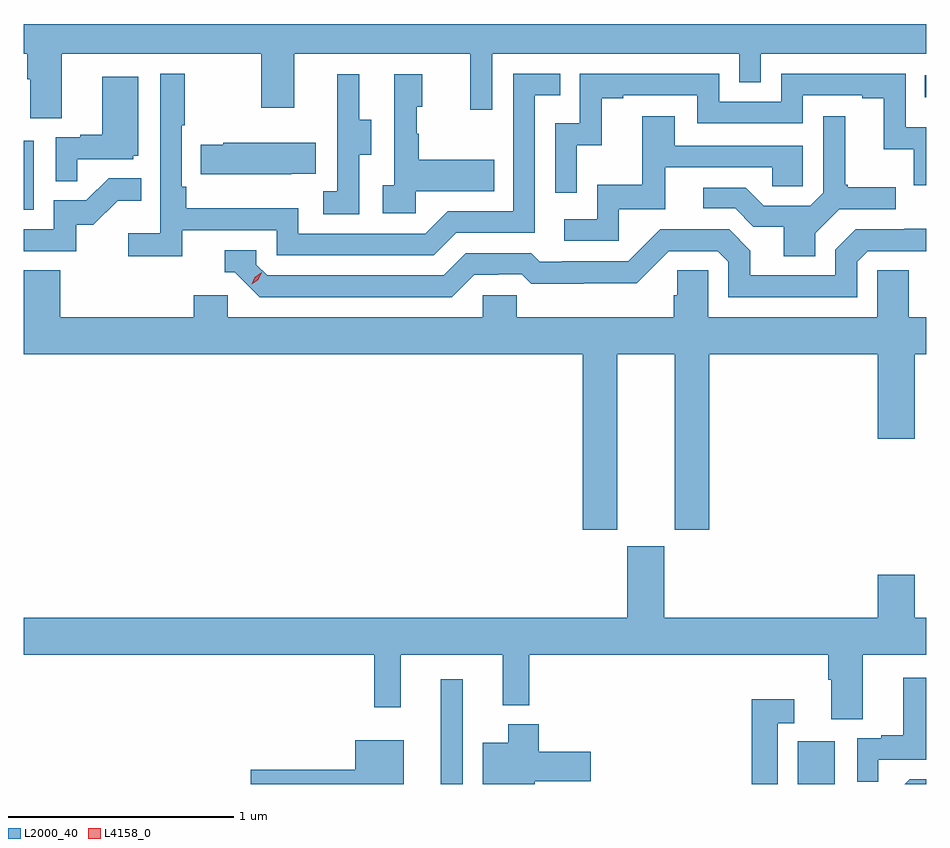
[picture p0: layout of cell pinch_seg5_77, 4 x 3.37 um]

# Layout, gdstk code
import gdstk
lib = gdstk.Library(unit=1e-6, precision=1e-09)
def R(c, l, rs):  # rectangles x0, y0, x1, y1
    for r in rs: c.add(gdstk.rectangle(r[:2], r[2:], *l))
def P(c, l, *ps):  # polygons
    for p in ps: c.add(gdstk.Polygon(p, *l))
L2000_40 = (2000, 40)
L4158_0 = (4158, 0)

pinch_seg5_77 = lib.new_cell('pinch_seg5_77')
R(pinch_seg5_77, L2000_40, [(1038.194,912.13,1038.291,912.595), (1039.778,912.13,1039.942,912.319), (1036.346,914.676,1036.39,914.983), (1040.341,915.176,1040.346,915.273)])
P(pinch_seg5_77, L2000_40, [(1036.513,915.368),(1037.398,915.368),(1037.398,915.129),(1037.545,915.129),(1037.545,915.368),(1038.326,915.368),(1038.326,915.12),(1038.423,915.12),(1038.423,915.368),(1039.518,915.368),(1039.518,915.241),(1039.614,915.241),(1039.614,915.368),(1040.346,915.368),(1040.346,915.5),(1036.346,915.5),(1036.346,915.368),(1036.361,915.368),(1036.361,915.256),(1036.373,915.256),(1036.373,915.082),(1036.513,915.082)],
  [(1037.048,914.586),(1037.466,914.586),(1037.466,914.475),(1038.163,914.475),(1038.262,914.574),(1038.612,914.574),(1038.612,915.183),(1038.725,915.183),(1038.725,915.279),(1038.516,915.279),(1038.516,914.67),(1038.225,914.67),(1038.126,914.571),(1037.562,914.571),(1037.562,914.683),(1037.066,914.683),(1037.066,914.779),(1037.046,914.779),(1037.046,915.052),(1037.059,915.052),(1037.059,915.28),(1036.95,915.28),(1036.95,914.572),(1036.809,914.572),(1036.809,914.47),(1037.048,914.47)],
  [(1038.798,914.963),(1038.908,914.963),(1038.908,915.171),(1039.003,915.171),(1039.003,915.183),(1039.332,915.183),(1039.332,915.06),(1039.8,915.06),(1039.8,915.183),(1040.063,915.183),(1040.063,915.171),(1040.159,915.171),(1040.159,914.945),(1040.292,914.945),(1040.292,914.784),(1040.346,914.784),(1040.346,915.043),(1040.256,915.043),(1040.256,915.279),(1039.704,915.279),(1039.704,915.156),(1039.428,915.156),(1039.428,915.279),(1038.81,915.279),(1038.81,915.06),(1038.702,915.06),(1038.702,914.751),(1038.798,914.751)],
  [(1037.832,914.92),(1037.887,914.92),(1037.887,915.075),(1037.833,915.075),(1037.833,915.277),(1037.735,915.277),(1037.735,915.063),(1037.736,915.063),(1037.736,914.759),(1037.673,914.759),(1037.673,914.656),(1037.832,914.656)],
  [(1038.084,914.759),(1038.431,914.759),(1038.431,914.899),(1038.097,914.899),(1038.097,915.014),(1038.087,915.014),(1038.087,915.132),(1038.112,915.132),(1038.112,915.277),(1037.988,915.277),(1037.988,914.786),(1037.937,914.786),(1037.937,914.661),(1038.084,914.661)],
  [(1036.583,914.901),(1036.83,914.901),(1036.83,914.916),(1036.852,914.916),(1036.852,915.265),(1036.694,915.265),(1036.694,915.01),(1036.595,915.01),(1036.595,914.997),(1036.488,914.997),(1036.488,914.803),(1036.583,914.803)],
  [(1038.984,914.679),(1039.189,914.679),(1039.189,914.865),(1039.663,914.865),(1039.663,914.781),(1039.8,914.781),(1039.8,914.961),(1039.231,914.961),(1039.231,915.091),(1039.087,915.091),(1039.087,914.788),(1038.888,914.788),(1038.888,914.634),(1038.741,914.634),(1038.741,914.538),(1038.984,914.538)],
  [(1039.855,914.572),(1039.962,914.679),(1040.212,914.679),(1040.212,914.776),(1039.999,914.776),(1039.999,914.788),(1039.987,914.788),(1039.987,915.091),(1039.89,915.091),(1039.89,914.751),(1039.833,914.694),(1039.627,914.694),(1039.546,914.775),(1039.359,914.775),(1039.359,914.682),(1039.5,914.682),(1039.58,914.602),(1039.715,914.602),(1039.715,914.47),(1039.855,914.47)],
  [(1037.531,914.837),(1037.639,914.837),(1037.639,914.974),(1037.229,914.974),(1037.229,914.964),(1037.131,914.964),(1037.131,914.834),(1037.531,914.834)],
  [(1036.578,914.61),(1036.654,914.61),(1036.761,914.717),(1036.865,914.717),(1036.865,914.816),(1036.721,914.816),(1036.623,914.718),(1036.479,914.718),(1036.479,914.589),(1036.346,914.589),(1036.346,914.493),(1036.578,914.493)],
  [(1038.343,914.388),(1038.45,914.388),(1038.45,914.391),(1038.553,914.391),(1038.595,914.349),(1038.828,914.349),(1038.828,914.351),(1039.064,914.351),(1039.206,914.493),(1039.422,914.493),(1039.47,914.445),(1039.47,914.289),(1040.04,914.289),(1040.04,914.445),(1040.088,914.493),(1040.346,914.493),(1040.346,914.591),(1040.25,914.591),(1040.25,914.589),(1040.034,914.589),(1039.944,914.499),(1039.944,914.385),(1039.567,914.385),(1039.567,914.495),(1039.473,914.589),(1039.167,914.589),(1039.026,914.448),(1038.733,914.448),(1038.733,914.445),(1038.634,914.445),(1038.595,914.484),(1038.306,914.484),(1038.207,914.385),(1037.424,914.385),(1037.376,914.433),(1037.376,914.496),(1037.237,914.496),(1037.237,914.4),(1037.28,914.4),(1037.391,914.289),(1038.244,914.289)],
  [(1038.976,914.036),(1039.232,914.036),(1039.232,913.257),(1039.385,913.257),(1039.385,914.036),(1040.132,914.036),(1040.132,913.662),(1040.296,913.662),(1040.296,914.036),(1040.346,914.036),(1040.346,914.2),(1040.269,914.2),(1040.269,914.408),(1040.13,914.408),(1040.13,914.2),(1039.38,914.2),(1039.38,914.408),(1039.243,914.408),(1039.243,914.298),(1039.228,914.298),(1039.228,914.2),(1038.531,914.2),(1038.531,914.298),(1038.381,914.298),(1038.381,914.2),(1037.25,914.2),(1037.25,914.298),(1037.099,914.298),(1037.099,914.2),(1036.507,914.2),(1036.507,914.408),(1036.346,914.408),(1036.346,914.036),(1038.824,914.036),(1038.824,913.257),(1038.976,913.257)],
  [(1040.065,912.704),(1040.346,912.704),(1040.346,912.868),(1040.296,912.868),(1040.296,913.057),(1040.132,913.057),(1040.132,912.868),(1039.186,912.868),(1039.186,913.185),(1039.022,913.185),(1039.022,912.868),(1036.346,912.868),(1036.346,912.704),(1037.899,912.704),(1037.899,912.471),(1038.017,912.471),(1038.017,912.704),(1038.47,912.704),(1038.47,912.479),(1038.587,912.479),(1038.587,912.704),(1039.913,912.704),(1039.913,912.592),(1039.925,912.592),(1039.925,912.418),(1040.065,912.418)],
  [(1040.135,912.237),(1040.346,912.237),(1040.346,912.601),(1040.246,912.601),(1040.246,912.346),(1040.147,912.346),(1040.147,912.333),(1040.04,912.333),(1040.04,912.139),(1040.135,912.139)],
  [(1039.689,912.399),(1039.762,912.399),(1039.762,912.505),(1039.573,912.505),(1039.573,912.13),(1039.689,912.13)],
  [(1038.612,912.143),(1038.859,912.143),(1038.859,912.273),(1038.629,912.273),(1038.629,912.394),(1038.494,912.394),(1038.494,912.313),(1038.38,912.313),(1038.38,912.13),(1038.612,912.13)],
  [(1038.031,912.325),(1037.816,912.325),(1037.816,912.194),(1037.352,912.194),(1037.352,912.13),(1038.031,912.13)],
  [(1040.346,912.152),(1040.273,912.152),(1040.251,912.13),(1040.346,912.13)])
P(pinch_seg5_77, L4158_0, [(1037.355,914.345),(1037.355,914.346),(1037.37,914.378),(1037.4,914.399),(1037.4,914.399),(1037.4,914.398),(1037.385,914.365),(1037.355,914.345)])

lib.write_gds('pinch_seg5_77.gds')
